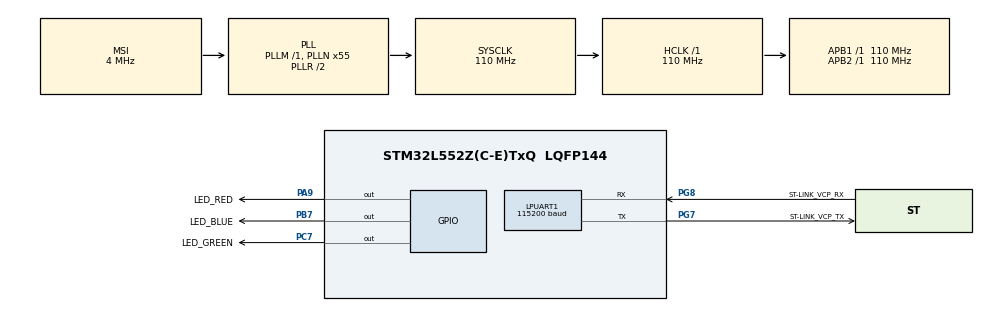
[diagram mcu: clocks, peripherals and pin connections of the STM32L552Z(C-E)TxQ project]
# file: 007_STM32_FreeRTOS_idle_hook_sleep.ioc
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LPUART1.BaudRate=115200
Mcu.Family=STM32L5
Mcu.Name=STM32L552Z(C-E)TxQ
Mcu.Package=LQFP144
Mcu.TrustZone=disable
NVIC.PriorityGroup=NVIC_PRIORITYGROUP_3
PA13\ (JTMS/SWDIO).Mode=Trace_Asynchronous_SW
PA13\ (JTMS/SWDIO).Signal=DEBUG_JTMS-SWDIO
PA14\ (JTCK/SWCLK).Mode=Trace_Asynchronous_SW
PA14\ (JTCK/SWCLK).Signal=DEBUG_JTCK-SWCLK
PA9.GPIO_Label=LED_RED
PA9.Signal=GPIO_Output
PB3\ (JTDO/TRACESWO).Mode=Trace_Asynchronous_SW
PB3\ (JTDO/TRACESWO).Signal=DEBUG_JTDO-SWO
PB7.GPIO_Label=LED_BLUE
PB7.Signal=GPIO_Output
PC14-OSC32_IN\ (PC14).Mode=LSE-External-Oscillator
PC14-OSC32_IN\ (PC14).Signal=RCC_OSC32_IN
PC15-OSC32_OUT\ (PC15).Mode=LSE-External-Oscillator
PC15-OSC32_OUT\ (PC15).Signal=RCC_OSC32_OUT
PC7.GPIO_Label=LED_GREEN
PC7.Signal=GPIO_Output
PG7.GPIO_Label=ST-LINK_VCP_TX
PG7.Mode=Asynchronous
PG7.Signal=LPUART1_TX
PG8.GPIO_Label=ST-LINK_VCP_RX
PG8.Mode=Asynchronous
PG8.Signal=LPUART1_RX
ProjectManager.HeapSize=0x200
ProjectManager.StackSize=0x400
ProjectManager.TargetToolchain=STM32CubeIDE
RCC.ADCCLockSelection=RCC_ADCCLKSOURCE_SYSCLK
RCC.ADCFreq_Value=110000000
RCC.AHBFreq_Value=110000000
RCC.APB1Freq_Value=110000000
RCC.APB1TimFreq_Value=110000000
RCC.APB2Freq_Value=110000000
RCC.APB2TimFreq_Value=110000000
RCC.CK48CLockSelection=RCC_USBCLKSOURCE_HSI48
RCC.CortexFreq_Value=110000000
RCC.HCLKFreq_Value=110000000
RCC.HSE_VALUE=8000000
RCC.HSI48_VALUE=48000000
RCC.HSI_VALUE=16000000
RCC.MSI_VALUE=4000000
RCC.PLLN=55
RCC.PLLSAI1N=24
RCC.RTCClockSelection=RCC_RTCCLKSOURCE_LSE
RCC.SYSCLKFreq_VALUE=110000000
RCC.SYSCLKSource=RCC_SYSCLKSOURCE_PLLCLK
RCC.USBFreq_Value=48000000
RCC.VCOOutputFreq_Value=220000000
VP_PWR_VS_SECSignals.Mode=Security/Privilege
board=NUCLEO-L552ZE-Q

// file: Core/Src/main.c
/* USER CODE BEGIN Header */
/**
 ******************************************************************************
 * @file           : main.c
 * @brief          : Example 007: Idle hook in FreeRTOS for NUCLEO-L552.
 *
 * @details Program to send the uC to sleep mode when Idle task is scheduled to
 * run on the CPU and take the current measurement.
 ******************************************************************************
 * @attention
 *
 * <h2><center>&copy; Copyright 2021 Leandro Medus.
 * All rights reserved.</center></h2>
 *
 * Permission is hereby granted, free of charge, to any person obtaining a copy
 * of this software and associated documentation files (the "Software"), to deal
 * in the Software without restriction, including without limitation the rights
 * to use, copy, modify, merge, publish, distribute, sublicense, and/or sell
 * copies of the Software, and to permit persons to whom the Software is
 * furnished to do so, subject to the following conditions:
 *
 * The above copyright notice and this permission notice shall be included in all
 * copies or substantial portions of the Software.
 *
 * THE SOFTWARE IS PROVIDED "AS IS", WITHOUT WARRANTY OF ANY KIND, EXPRESS OR
 * IMPLIED, INCLUDING BUT NOT LIMITED TO THE WARRANTIES OF MERCHANTABILITY,
 * FITNESS FOR A PARTICULAR PURPOSE AND NONINFRINGEMENT. IN NO EVENT SHALL THE
 * AUTHORS OR COPYRIGHT HOLDERS BE LIABLE FOR ANY CLAIM, DAMAGES OR OTHER
 * LIABILITY, WHETHER IN AN ACTION OF CONTRACT, TORT OR OTHERWISE, ARISING FROM,
 * OUT OF OR IN CONNECTION WITH THE SOFTWARE OR THE USE OR OTHER DEALINGS IN THE
 * SOFTWARE.
 *
 ******************************************************************************
 */

/*
 * Other useful functions:
 *
 *      SEGGER_SYSVIEW_PrintfTarget("Task-1 is yielding");
 *      snprintf(msg, 100, "%s\n", (char*)parameters);
 *      sendString(msg);
 *      traceISR_ENTER();
 *      traceISR_EXIT();
 *      traceISR_EXIT_TO_SCHEDULER();
 *      taskYIELD();

 * */

/* USER CODE END Header */
#include "main.h"

/* USER CODE BEGIN Includes */
#include "FreeRTOS.h"
#include "task.h"
#include <stdio.h>
#include <string.h>
//#include <stdbool.h>
/* USER CODE END Includes */

/* USER CODE BEGIN PTD */
#define true                1
#define false               0

#define AVAILABLE           true
#define NOT_AVAILABLE       false

#define PRESSED             true
#define NOT_PRESSED         false

#define DEBOUNCE_DELAY_MS   10

#define DWT_CTRL    (*(volatile uint32_t*)0xE0001000)       /* Data Watchpoint and Trace Unit */
/* USER CODE END PTD */

UART_HandleTypeDef hlpuart1;

/* USER CODE BEGIN PV */
TaskHandle_t xTask_1_handle;
TaskHandle_t xTask_2_handle;
char usr_msg[250];

uint8_t UART_ACCESS_KEY = AVAILABLE;
uint8_t button_status_flag = NOT_PRESSED;

/* USER CODE END PV */

void SystemClock_Config(void);
static void MX_GPIO_Init(void);
static void MX_LPUART1_UART_Init(void);
/* USER CODE BEGIN PFP */
void sendString(char *msg);

static void vtask_1_handler(void* parameters);
static void vtask_2_handler(void* parameters);

/* USER CODE END PFP */

int main(void)
{
    /* USER CODE BEGIN 1 */
    BaseType_t status;

    char msg_program_init [] = "[info] ---- Example 007: Idle hook in FreeRTOS for NUCLEO-L552. ----\r\n";

    /* USER CODE END 1 */

    /* MCU Configuration--------------------------------------------------------*/

    /* Reset of all peripherals, Initializes the Flash interface and the Systick. */
    HAL_Init();

    /* Configure the system clock */
    SystemClock_Config();

    /* Initialize all configured peripherals */
    MX_GPIO_Init();
    MX_LPUART1_UART_Init();
    /* USER CODE BEGIN 2 */

    DWT_CTRL |= ( 1 << 0);                  //Enable the CYCCNT counter. (to maintain time stamps in Segger)

    sendString(msg_program_init);

    SEGGER_SYSVIEW_Conf();

    SEGGER_SYSVIEW_Start();                 // Start recording with SEGGER

    status = xTaskCreate(
            vtask_1_handler,                // name of the task handler
            "TASK-1",                       // descriptive name. (Could be NULL)
            configMINIMAL_STACK_SIZE,       // stack space ([words] = 4*words [bytes])
            "Task-1 [info]",                // pvParameters
            2,                              // priority of the task
            &xTask_1_handle);               // handler to the TCB (task controller block)

    configASSERT(status == pdPASS);

    status = xTaskCreate(
            vtask_2_handler,
            "TASK-2",
            configMINIMAL_STACK_SIZE,
            "Task-2 [info]",
            3,
            &xTask_2_handle);

    configASSERT(status == pdPASS);

    vTaskStartScheduler();                  // start the freeRTOS scheduler
    /* USER CODE END 2 */

    /* Infinite loop */
    while (1)
    {

    }
}

void SystemClock_Config(void)
{
    RCC_OscInitTypeDef RCC_OscInitStruct = {0};
    RCC_ClkInitTypeDef RCC_ClkInitStruct = {0};

    /** Configure the main internal regulator output voltage
     */
    if (HAL_PWREx_ControlVoltageScaling(PWR_REGULATOR_VOLTAGE_SCALE0) != HAL_OK)
    {
        Error_Handler();
    }
    /** Initializes the RCC Oscillators according to the specified parameters
     * in the RCC_OscInitTypeDef structure.
     */
    RCC_OscInitStruct.OscillatorType = RCC_OSCILLATORTYPE_MSI;
    RCC_OscInitStruct.MSIState = RCC_MSI_ON;
    RCC_OscInitStruct.MSICalibrationValue = RCC_MSICALIBRATION_DEFAULT;
    RCC_OscInitStruct.MSIClockRange = RCC_MSIRANGE_6;
    RCC_OscInitStruct.PLL.PLLState = RCC_PLL_ON;
    RCC_OscInitStruct.PLL.PLLSource = RCC_PLLSOURCE_MSI;
    RCC_OscInitStruct.PLL.PLLM = 1;
    RCC_OscInitStruct.PLL.PLLN = 55;
    RCC_OscInitStruct.PLL.PLLP = RCC_PLLP_DIV7;
    RCC_OscInitStruct.PLL.PLLQ = RCC_PLLQ_DIV2;
    RCC_OscInitStruct.PLL.PLLR = RCC_PLLR_DIV2;
    if (HAL_RCC_OscConfig(&RCC_OscInitStruct) != HAL_OK)
    {
        Error_Handler();
    }
    /** Initializes the CPU, AHB and APB buses clocks
     */
    RCC_ClkInitStruct.ClockType = RCC_CLOCKTYPE_HCLK|RCC_CLOCKTYPE_SYSCLK
            |RCC_CLOCKTYPE_PCLK1|RCC_CLOCKTYPE_PCLK2;
    RCC_ClkInitStruct.SYSCLKSource = RCC_SYSCLKSOURCE_PLLCLK;
    RCC_ClkInitStruct.AHBCLKDivider = RCC_SYSCLK_DIV1;
    RCC_ClkInitStruct.APB1CLKDivider = RCC_HCLK_DIV1;
    RCC_ClkInitStruct.APB2CLKDivider = RCC_HCLK_DIV1;

    if (HAL_RCC_ClockConfig(&RCC_ClkInitStruct, FLASH_LATENCY_5) != HAL_OK)
    {
        Error_Handler();
    }
}

static void MX_LPUART1_UART_Init(void)
{

    hlpuart1.Instance = LPUART1;
    hlpuart1.Init.BaudRate = 115200;
    hlpuart1.Init.WordLength = UART_WORDLENGTH_8B;
    hlpuart1.Init.StopBits = UART_STOPBITS_1;
    hlpuart1.Init.Parity = UART_PARITY_NONE;
    hlpuart1.Init.Mode = UART_MODE_TX_RX;
    hlpuart1.Init.HwFlowCtl = UART_HWCONTROL_NONE;
    hlpuart1.Init.OneBitSampling = UART_ONE_BIT_SAMPLE_DISABLE;
    hlpuart1.Init.ClockPrescaler = UART_PRESCALER_DIV1;
    hlpuart1.AdvancedInit.AdvFeatureInit = UART_ADVFEATURE_NO_INIT;
    hlpuart1.FifoMode = UART_FIFOMODE_DISABLE;
    if (HAL_UART_Init(&hlpuart1) != HAL_OK)
    {
        Error_Handler();
    }
    if (HAL_UARTEx_SetTxFifoThreshold(&hlpuart1, UART_TXFIFO_THRESHOLD_1_8) != HAL_OK)
    {
        Error_Handler();
    }
    if (HAL_UARTEx_SetRxFifoThreshold(&hlpuart1, UART_RXFIFO_THRESHOLD_1_8) != HAL_OK)
    {
        Error_Handler();
    }
    if (HAL_UARTEx_DisableFifoMode(&hlpuart1) != HAL_OK)
    {
        Error_Handler();
    }

}

static void MX_GPIO_Init(void)
{
    GPIO_InitTypeDef GPIO_InitStruct = {0};

    /* GPIO Ports Clock Enable */
    __HAL_RCC_GPIOC_CLK_ENABLE();
    __HAL_RCC_GPIOG_CLK_ENABLE();
    HAL_PWREx_EnableVddIO2();
    __HAL_RCC_GPIOA_CLK_ENABLE();
    __HAL_RCC_GPIOB_CLK_ENABLE();

    /*Configure GPIO pin Output Level */
    HAL_GPIO_WritePin(LED_GREEN_GPIO_Port, LED_GREEN_Pin, GPIO_PIN_RESET);

    /*Configure GPIO pin Output Level */
    HAL_GPIO_WritePin(LED_RED_GPIO_Port, LED_RED_Pin, GPIO_PIN_RESET);

    /*Configure GPIO pin Output Level */
    HAL_GPIO_WritePin(LED_BLUE_GPIO_Port, LED_BLUE_Pin, GPIO_PIN_RESET);

    /*Configure GPIO pin : LED_GREEN_Pin */
    GPIO_InitStruct.Pin = LED_GREEN_Pin;
    GPIO_InitStruct.Mode = GPIO_MODE_OUTPUT_PP;
    GPIO_InitStruct.Pull = GPIO_NOPULL;
    GPIO_InitStruct.Speed = GPIO_SPEED_FREQ_LOW;
    HAL_GPIO_Init(LED_GREEN_GPIO_Port, &GPIO_InitStruct);

    /*Configure GPIO pin : LED_RED_Pin */
    GPIO_InitStruct.Pin = LED_RED_Pin;
    GPIO_InitStruct.Mode = GPIO_MODE_OUTPUT_PP;
    GPIO_InitStruct.Pull = GPIO_NOPULL;
    GPIO_InitStruct.Speed = GPIO_SPEED_FREQ_LOW;
    HAL_GPIO_Init(LED_RED_GPIO_Port, &GPIO_InitStruct);

    /*Configure GPIO pin : LED_BLUE_Pin */
    GPIO_InitStruct.Pin = LED_BLUE_Pin;
    GPIO_InitStruct.Mode = GPIO_MODE_OUTPUT_PP;
    GPIO_InitStruct.Pull = GPIO_NOPULL;
    GPIO_InitStruct.Speed = GPIO_SPEED_FREQ_LOW;
    HAL_GPIO_Init(LED_BLUE_GPIO_Port, &GPIO_InitStruct);

}

/* USER CODE BEGIN 4 */

/* --------------------------------------------------------------------------*/

/**
 * @brief  This function send a string using the UART
 * @retval None
 */
void sendString(char *msg)
{
    sprintf(usr_msg, msg);

    // sending a string
    HAL_UART_Transmit(&hlpuart1, (uint8_t *) usr_msg, strlen(usr_msg), 100);
}

/**
 * @brief  FreeRTOS task: print the LED status with the uart
 * @details
 *
 * @retval None
 */
static void vtask_1_handler(void* parameters)
{
    while(true)
    {
        sprintf(usr_msg,"Status of the LED is: %d.\r\n", HAL_GPIO_ReadPin(LED_BLUE_GPIO_Port, LED_BLUE_Pin));
        sendString(usr_msg);

        // vTaskDelay(1000);   // this is number of ticks
        vTaskDelay(pdMS_TO_TICKS(1000));
    }
}

/**
 * @brief  FreeRTOS task: toogle the blue LED.
 * @details
 *
 * @retval None
 */
static void vtask_2_handler(void* parameters)
{
    while(true)
    {
        HAL_GPIO_TogglePin(LED_BLUE_GPIO_Port, LED_BLUE_Pin);

        // vTaskDelay(1000);   // this is number of ticks
        vTaskDelay(pdMS_TO_TICKS(1000));
    }
}

void vApplicationIdleHook(void)
{
    // send the CPU to normal sleep mode
    __WFI();

    /*
     * Remember that when you send the uC to sleep mode, you can't get a trace.
     */
}

/* --------------------------------------------------------------------------*/
/* USER CODE END 4 */

void Error_Handler(void)
{
    __disable_irq();
    while (1)
    {
    }
}

/************************ (C) COPYRIGHT STMicroelectronics *****END OF FILE****/
